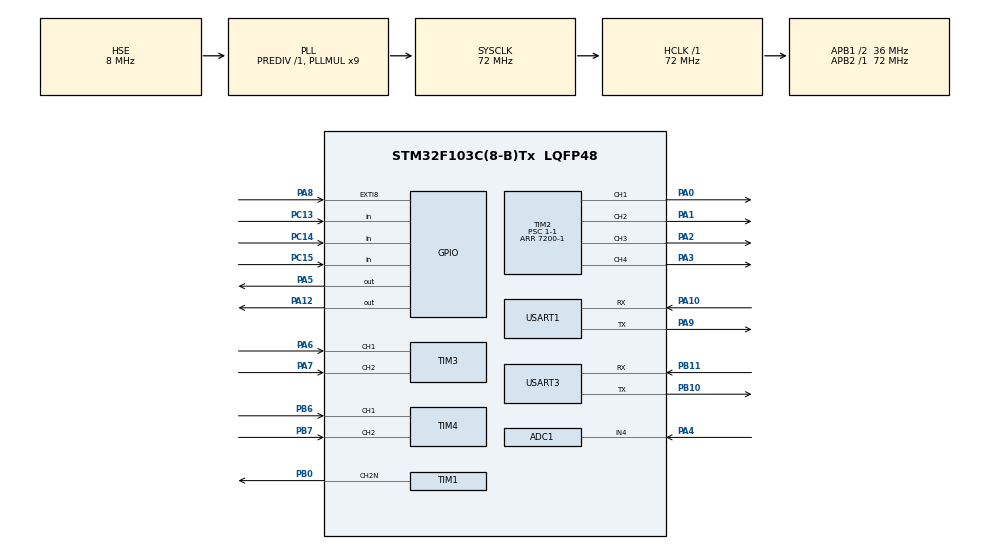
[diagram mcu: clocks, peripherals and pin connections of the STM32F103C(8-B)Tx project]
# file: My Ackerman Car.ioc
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ADC1.Channel-0\#ChannelRegularConversion=ADC_CHANNEL_4
ADC1.NbrOfConversionFlag=1
ADC1.Rank-0\#ChannelRegularConversion=1
ADC1.SamplingTime-0\#ChannelRegularConversion=ADC_SAMPLETIME_1CYCLE_5
ADC1.master=1
Mcu.Family=STM32F1
Mcu.Name=STM32F103C(8-B)Tx
Mcu.Package=LQFP48
NVIC.EXTI9_5_IRQn=true\:3\:0\:true\:false\:true\:true\:true\:true
NVIC.PriorityGroup=NVIC_PRIORITYGROUP_2
NVIC.TIM1_UP_IRQn=true\:0\:0\:false\:false\:true\:true\:true\:true
NVIC.USART1_IRQn=true\:0\:0\:false\:false\:true\:true\:true\:true
PA0-WKUP.Signal=S_TIM2_CH1_ETR
PA1.Signal=S_TIM2_CH2
PA10.Mode=Asynchronous
PA10.Signal=USART1_RX
PA12.Signal=GPIO_Output
PA13.Mode=JTAG_4_pins
PA13.Signal=SYS_JTMS-SWDIO
PA14.Mode=JTAG_4_pins
PA14.Signal=SYS_JTCK-SWCLK
PA15.Mode=JTAG_4_pins
PA15.Signal=SYS_JTDI
PA2.Signal=S_TIM2_CH3
PA3.Signal=S_TIM2_CH4
PA4.Signal=ADCx_IN4
PA5.PinState=GPIO_PIN_RESET
PA5.Signal=GPIO_Output
PA6.Signal=S_TIM3_CH1
PA7.Signal=S_TIM3_CH2
PA8.GPIO_ModeDefaultEXTI=GPIO_MODE_IT_FALLING
PA8.GPIO_PuPd=GPIO_PULLUP
PA8.Signal=GPXTI8
PA9.Mode=Asynchronous
PA9.Signal=USART1_TX
PB0.Mode=PWM Generation2 CH2N
PB0.Signal=TIM1_CH2N
PB10.Mode=Asynchronous
PB10.Signal=USART3_TX
PB11.Mode=Asynchronous
PB11.Signal=USART3_RX
PB3.Mode=JTAG_4_pins
PB3.Signal=SYS_JTDO-TRACESWO
PB6.Signal=S_TIM4_CH1
PB7.Signal=S_TIM4_CH2
PC13-TAMPER-RTC.GPIO_PuPd=GPIO_PULLUP
PC13-TAMPER-RTC.Signal=GPIO_Input
PC14-OSC32_IN.GPIO_PuPd=GPIO_PULLUP
PC14-OSC32_IN.Signal=GPIO_Input
PC15-OSC32_OUT.GPIO_PuPd=GPIO_PULLUP
PC15-OSC32_OUT.Signal=GPIO_Input
PD0-OSC_IN.Mode=HSE-External-Oscillator
PD0-OSC_IN.Signal=RCC_OSC_IN
PD1-OSC_OUT.Mode=HSE-External-Oscillator
PD1-OSC_OUT.Signal=RCC_OSC_OUT
ProjectManager.HeapSize=0x200
ProjectManager.StackSize=0x400
ProjectManager.TargetToolchain=MDK-ARM V5.32
RCC.ADCPresc=RCC_ADCPCLK2_DIV6
RCC.AHBFreq_Value=72000000
RCC.APB1CLKDivider=RCC_HCLK_DIV2
RCC.APB1Freq_Value=36000000
RCC.APB1TimFreq_Value=72000000
RCC.APB2Freq_Value=72000000
RCC.APB2TimFreq_Value=72000000
RCC.HCLKFreq_Value=72000000
RCC.PLLMUL=RCC_PLL_MUL9
RCC.PLLSourceVirtual=RCC_PLLSOURCE_HSE
RCC.SYSCLKFreq_VALUE=72000000
RCC.SYSCLKSource=RCC_SYSCLKSOURCE_PLLCLK
RCC.USBFreq_Value=72000000
SH.ADCx_IN4.0=ADC1_IN4,IN4
SH.S_TIM2_CH1_ETR.0=TIM2_CH1,PWM Generation1 CH1
SH.S_TIM2_CH2.0=TIM2_CH2,PWM Generation2 CH2
SH.S_TIM2_CH3.0=TIM2_CH3,PWM Generation3 CH3
SH.S_TIM2_CH4.0=TIM2_CH4,PWM Generation4 CH4
SH.S_TIM3_CH1.0=TIM3_CH1,Encoder_Interface
SH.S_TIM3_CH2.0=TIM3_CH2,Encoder_Interface
SH.S_TIM4_CH1.0=TIM4_CH1,Encoder_Interface
SH.S_TIM4_CH2.0=TIM4_CH2,Encoder_Interface
TIM1.Channel-PWM\ Generation2\ CH2N=TIM_CHANNEL_2
TIM1.Period=60000-1
TIM1.Prescaler=24-1
TIM2.Channel-PWM\ Generation1\ CH1=TIM_CHANNEL_1
TIM2.Channel-PWM\ Generation2\ CH2=TIM_CHANNEL_2
TIM2.Channel-PWM\ Generation3\ CH3=TIM_CHANNEL_3
TIM2.Channel-PWM\ Generation4\ CH4=TIM_CHANNEL_4
TIM2.Period=7200-1
TIM2.Prescaler=1-1
TIM2.Pulse-PWM\ Generation2\ CH2=0
TIM2.Pulse-PWM\ Generation3\ CH3=0
USART1.VirtualMode=VM_ASYNC
USART3.VirtualMode=VM_ASYNC
VP_TIM1_VS_ClockSourceINT.Mode=Internal
board=custom

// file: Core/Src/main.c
/* USER CODE BEGIN Header */
/**
  ******************************************************************************
  * @file           : main.c
  * @brief          : Main program body
  ******************************************************************************
  * @attention
  *
  * Copyright (c) 2023 STMicroelectronics.
  * All rights reserved.
  *
  * This software is licensed under terms that can be found in the LICENSE file
  * in the root directory of this software component.
  * If no LICENSE file comes with this software, it is provided AS-IS.
  *
  ******************************************************************************
  */
/* USER CODE END Header */
#include "main.h"
#include "adc.h"
#include "tim.h"
#include "usart.h"
#include "gpio.h"

/* USER CODE BEGIN Includes */
#include "key.h"
#include "motor.h"
#include "mpu9250.h"
#include "pid.h"
/* USER CODE END Includes */

/* USER CODE BEGIN PD */
int anglepwm=4700;
extern int Deviation_Count;
/* USER CODE END PD */

void SystemClock_Config(void);

int main(void)
{

  /* MCU Configuration--------------------------------------------------------*/

  /* Reset of all peripherals, Initializes the Flash interface and the Systick. */
  HAL_Init();

  /* Configure the system clock */
  SystemClock_Config();

  /* Initialize all configured peripherals */
  MX_GPIO_Init();
  MX_ADC1_Init();
  MX_TIM1_Init();
  MX_TIM2_Init();
  MX_TIM3_Init();
  MX_TIM4_Init();
  MX_USART1_UART_Init();
  MX_USART3_UART_Init();
  /* USER CODE BEGIN 2 */
  HAL_TIM_PWM_Start(&htim2,TIM_CHANNEL_1);
  HAL_TIM_PWM_Start(&htim2,TIM_CHANNEL_2);
  HAL_TIM_PWM_Start(&htim2,TIM_CHANNEL_3);
  HAL_TIM_PWM_Start(&htim2,TIM_CHANNEL_4);
  HAL_TIMEx_PWMN_Start(&htim1,TIM_CHANNEL_2);
 __HAL_TIM_CLEAR_FLAG(&htim1,TIM_FLAG_UPDATE);
  HAL_TIM_Base_Start_IT(&htim1);
  PID_Init();
  MPU9250_Init();
  //HAL_GPIO_WritePin(GPIOA,GPIO_PIN_12,GPIO_PIN_SET);
  /* USER CODE END 2 */

  /* Infinite loop */
  while (1)
  {

    /* USER CODE BEGIN 3 */

	if(Key_Scan(GPIOC,GPIO_PIN_13)==GPIO_PIN_RESET){
			anglepwm+=50;

	  }
	if(Key_Scan(GPIOC,GPIO_PIN_14)==GPIO_PIN_RESET){
			anglepwm+=400;
	  }
	if(Key_Scan(GPIOC,GPIO_PIN_15)==GPIO_PIN_RESET){
			anglepwm-=200;
	  }
  }
  /* USER CODE END 3 */
}

void SystemClock_Config(void)
{
  RCC_OscInitTypeDef RCC_OscInitStruct = {0};
  RCC_ClkInitTypeDef RCC_ClkInitStruct = {0};
  RCC_PeriphCLKInitTypeDef PeriphClkInit = {0};

  /** Initializes the RCC Oscillators according to the specified parameters
  * in the RCC_OscInitTypeDef structure.
  */
  RCC_OscInitStruct.OscillatorType = RCC_OSCILLATORTYPE_HSE;
  RCC_OscInitStruct.HSEState = RCC_HSE_ON;
  RCC_OscInitStruct.HSEPredivValue = RCC_HSE_PREDIV_DIV1;
  RCC_OscInitStruct.HSIState = RCC_HSI_ON;
  RCC_OscInitStruct.PLL.PLLState = RCC_PLL_ON;
  RCC_OscInitStruct.PLL.PLLSource = RCC_PLLSOURCE_HSE;
  RCC_OscInitStruct.PLL.PLLMUL = RCC_PLL_MUL9;
  if (HAL_RCC_OscConfig(&RCC_OscInitStruct) != HAL_OK)
  {
    Error_Handler();
  }

  /** Initializes the CPU, AHB and APB buses clocks
  */
  RCC_ClkInitStruct.ClockType = RCC_CLOCKTYPE_HCLK|RCC_CLOCKTYPE_SYSCLK
                              |RCC_CLOCKTYPE_PCLK1|RCC_CLOCKTYPE_PCLK2;
  RCC_ClkInitStruct.SYSCLKSource = RCC_SYSCLKSOURCE_PLLCLK;
  RCC_ClkInitStruct.AHBCLKDivider = RCC_SYSCLK_DIV1;
  RCC_ClkInitStruct.APB1CLKDivider = RCC_HCLK_DIV2;
  RCC_ClkInitStruct.APB2CLKDivider = RCC_HCLK_DIV1;

  if (HAL_RCC_ClockConfig(&RCC_ClkInitStruct, FLASH_LATENCY_2) != HAL_OK)
  {
    Error_Handler();
  }
  PeriphClkInit.PeriphClockSelection = RCC_PERIPHCLK_ADC;
  PeriphClkInit.AdcClockSelection = RCC_ADCPCLK2_DIV6;
  if (HAL_RCCEx_PeriphCLKConfig(&PeriphClkInit) != HAL_OK)
  {
    Error_Handler();
  }
}

void Error_Handler(void)
{
  __disable_irq();
  while (1)
  {
  }
}
